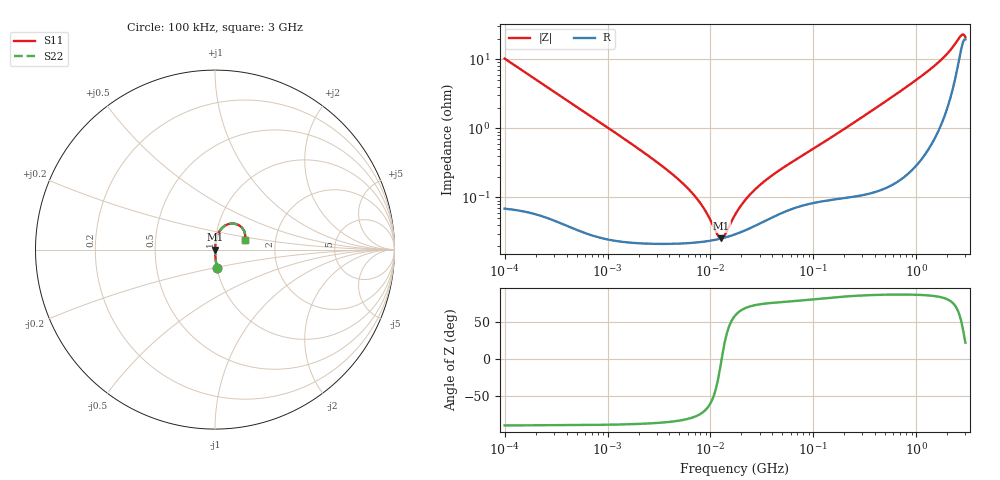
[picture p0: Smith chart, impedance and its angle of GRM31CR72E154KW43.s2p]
!Murata Part Number: GRM31CR72E154KW43
!These Parameters are Measured in Series Mode Connection
!Data Generated on Mar 30, 2021
!  o--ll--o
!Port1  Port2
!  o------o
!Operation Temp=25[degC], DC Bias Voltage=0[V]
!Freq. Start=100[kHz] Stop=3[GHz] 401[Steps]
# Hz S RI R 50
!Freq.(Hz) S11(Real) S11(Imag) S21(Real) S21(Imag) S12(Real) S12(Imag) S22(Real) S22(Imag)
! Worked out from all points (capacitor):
!   401 points, 100 kHz to 3 GHz, reference 50 ohm
!   read as one part in series: C = 155 nF near 105.3 kHz
!   lowest |Z| = 25.5 mohm at 12.71 MHz (marker M1)
!   series resonance near 12.85 MHz, so ESL is about 990 pH
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100000  0.011 -0.1012  0.989 0.1012  0.989 0.1012  0.011 -0.1012
216663  0.00279 -0.0473  0.9972 0.0473  0.9972 0.0473  0.00279 -0.0473
562235  0.000655 -0.0184  0.9993 0.0184  0.9993 0.0184  0.000655 -0.0184
3161081  0.000222 -0.00308  0.9998 0.00308  0.9998 0.00308  0.000222 -0.00308
5026967  0.000218 -0.00174  0.9998 0.00174  0.9998 0.00174  0.000218 -0.00174
7027689  0.000223 -0.00103  0.9998 0.00103  0.9998 0.00103  0.000223 -0.00103
8862326  0.000231 -0.000609  0.9998 0.000609  0.9998 0.000609  0.000231 -0.000609
1.176708e7  0.000248 -0.000141  0.9998 0.000141  0.9998 0.000141  0.000248 -0.000141
1.271297e7  0.000255 -1.73e-05  0.9997 1.73e-05  0.9997 1.73e-05  0.000255 -1.73e-05
1.37349e7  0.000262 0.000106  0.9997 -0.000106  0.9997 -0.000106  0.000262 0.000106
1.77727e7  0.000296 0.000518  0.9997 -0.000518  0.9997 -0.000518  0.000296 0.000518
2.299754e7  0.000347 0.00095  0.9997 -0.00095  0.9997 -0.00095  0.000347 0.00095
3.215051e7  0.000442 0.00157  0.9996 -0.00157  0.9996 -0.00157  0.000442 0.00157
4.855934e7  0.000595 0.0025  0.9994 -0.0025  0.9994 -0.0025  0.000595 0.0025
9.738194e7  0.000847 0.00488  0.9992 -0.00488  0.9992 -0.00488  0.000847 0.00488
5.475153e8  0.00216 0.0267  0.9978 -0.0267  0.9978 -0.0267  0.00216 0.0267
1.186261e9  0.0076 0.0601  0.9924 -0.0601  0.9924 -0.0601  0.0076 0.0601
1.886474e9  0.0262 0.1046  0.9738 -0.1046  0.9738 -0.1046  0.0262 0.1046
2.259438e9  0.0543 0.1327  0.9457 -0.1327  0.9457 -0.1327  0.0543 0.1327
2.637286e9  0.1204 0.1415  0.8796 -0.1415  0.8796 -0.1415  0.1204 0.1415
2.776789e9  0.1516 0.121  0.8484 -0.121  0.8484 -0.121  0.1516 0.121
3e9  0.1664 0.0548  0.8336 -0.0548  0.8336 -0.0548  0.1664 0.0548
